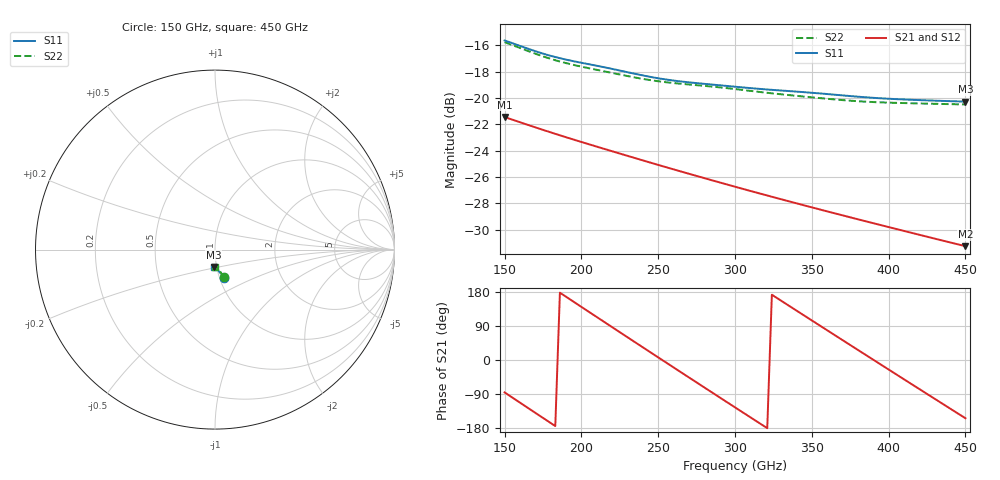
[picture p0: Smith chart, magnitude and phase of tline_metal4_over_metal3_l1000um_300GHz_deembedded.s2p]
! Created with skrf 2.2.0 (http://scikit-rf.org).
# GHz S DB R 50.0
! Port[1] = P1
! Port[2] = P2
!freq dBS11 angS11 dBS21 angS21 dBS12 angS12 dBS22 angS22
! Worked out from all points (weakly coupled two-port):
!   101 points, 150 GHz to 450 GHz, reference 50 ohm
!   highest |S21| = -21.44 dB at 150 GHz (marker M1); lowest = -31.3 dB at 450 GHz (marker M2)
!   lowest |S11| = -20.3 dB at 450 GHz (marker M3), VSWR 1.21, Z = 48.4 - j9.45 ohm
!   |S11| at or under -10 dB: start of sweep to end of sweep
!   |S22| runs from -20.5 to -15.7 dB; largest |S21 - S12| = 5.3e-14
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150  -15.62 -72.4  -21.44 -85.5  -21.44 -85.5  -15.75 -72.0
162  -16.11 -73.9  -21.92 -117.9  -21.92 -117.9  -16.28 -73.5
177  -16.69 -75.1  -22.49 -158.2  -22.49 -158.2  -16.90 -74.6
189  -17.05 -75.8  -22.94 169.6  -22.94 169.6  -17.31 -75.0
201  -17.34 -76.7  -23.37 137.5  -23.37 137.5  -17.63 -75.6
213  -17.61 -77.8  -23.80 105.4  -23.80 105.4  -17.92 -76.3
222  -17.83 -78.7  -24.11 81.4  -24.11 81.4  -18.14 -76.9
237  -18.20 -79.9  -24.64 41.4  -24.64 41.4  -18.48 -77.6
252  -18.53 -80.7  -25.15 1.6  -25.15 1.6  -18.75 -78.2
264  -18.72 -81.2  -25.56 -30.1  -25.56 -30.1  -18.90 -78.7
276  -18.87 -81.8  -25.96 -61.8  -25.96 -61.8  -19.03 -79.5
288  -19.00 -82.7  -26.35 -93.4  -26.35 -93.4  -19.16 -80.5
300  -19.13 -83.6  -26.74 -125.0  -26.74 -125.0  -19.31 -81.6
312  -19.26 -84.5  -27.13 -156.4  -27.13 -156.4  -19.48 -82.6
324  -19.37 -85.4  -27.51 172.2  -27.51 172.2  -19.64 -83.4
339  -19.50 -86.6  -27.97 133.1  -27.97 133.1  -19.82 -84.4
351  -19.60 -87.6  -28.34 101.8  -28.34 101.8  -19.95 -85.1
363  -19.72 -88.7  -28.71 70.7  -28.71 70.7  -20.08 -85.8
378  -19.87 -89.8  -29.16 31.8  -29.16 31.8  -20.22 -86.5
402  -20.06 -91.2  -29.87 -30.2  -29.87 -30.2  -20.35 -87.5
426  -20.18 -92.6  -30.57 -92.0  -30.57 -92.0  -20.42 -88.9
450  -20.27 -94.1  -31.26 -153.7  -31.26 -153.7  -20.48 -90.4
